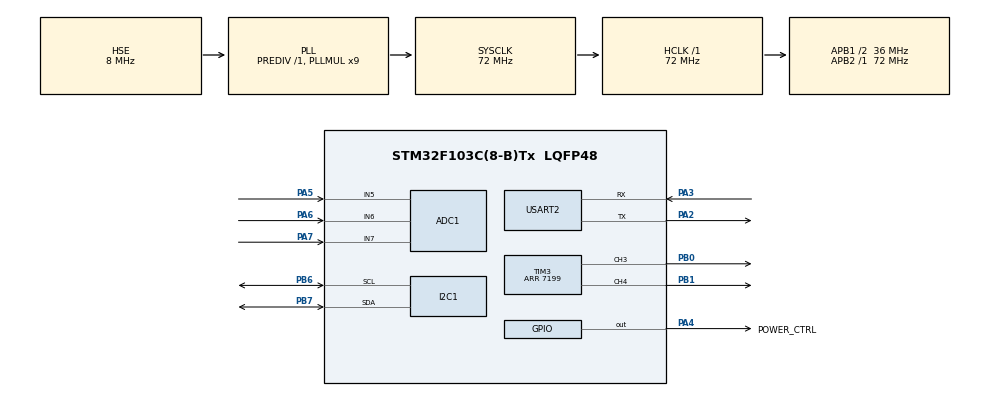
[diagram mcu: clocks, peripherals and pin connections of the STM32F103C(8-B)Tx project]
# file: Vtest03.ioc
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ADC1.Channel-0\#ChannelRegularConversion=ADC_CHANNEL_5
ADC1.Channel-1\#ChannelRegularConversion=ADC_CHANNEL_6
ADC1.Channel-2\#ChannelRegularConversion=ADC_CHANNEL_7
ADC1.ExternalTrigConv=ADC_EXTERNALTRIGCONV_T2_CC2
ADC1.NbrOfConversion=3
ADC1.NbrOfConversionFlag=3
ADC1.Rank-0\#ChannelRegularConversion=1
ADC1.Rank-1\#ChannelRegularConversion=2
ADC1.Rank-2\#ChannelRegularConversion=3
ADC1.SamplingTime-0\#ChannelRegularConversion=ADC_SAMPLETIME_71CYCLES_5
ADC1.SamplingTime-1\#ChannelRegularConversion=ADC_SAMPLETIME_71CYCLES_5
ADC1.SamplingTime-2\#ChannelRegularConversion=ADC_SAMPLETIME_71CYCLES_5
ADC1.ScanConvMode=ADC_SCAN_ENABLE
ADC1.master=1
Dma.ADC1.0.Direction=DMA_PERIPH_TO_MEMORY
Dma.ADC1.0.Instance=DMA1_Channel1
Dma.ADC1.0.MemDataAlignment=DMA_MDATAALIGN_HALFWORD
Dma.ADC1.0.MemInc=DMA_MINC_ENABLE
Dma.ADC1.0.Mode=DMA_CIRCULAR
Dma.ADC1.0.PeriphDataAlignment=DMA_PDATAALIGN_HALFWORD
Dma.ADC1.0.PeriphInc=DMA_PINC_DISABLE
Dma.ADC1.0.Priority=DMA_PRIORITY_HIGH
Dma.Request0=ADC1
I2C1.I2C_Mode=I2C_Fast
Mcu.Family=STM32F1
Mcu.Name=STM32F103C(8-B)Tx
Mcu.Package=LQFP48
NVIC.ADC1_2_IRQn=true\:0\:0\:false\:false\:true\:true\:true\:true
NVIC.DMA1_Channel1_IRQn=true\:0\:0\:false\:false\:true\:false\:true\:true
NVIC.I2C1_ER_IRQn=true\:0\:0\:false\:false\:true\:true\:true\:true
NVIC.I2C1_EV_IRQn=true\:0\:0\:false\:false\:true\:true\:true\:true
NVIC.PriorityGroup=NVIC_PRIORITYGROUP_4
PA13.Mode=Serial_Wire
PA13.Signal=SYS_JTMS-SWDIO
PA14.Mode=Serial_Wire
PA14.Signal=SYS_JTCK-SWCLK
PA2.Mode=Asynchronous
PA2.Signal=USART2_TX
PA3.Mode=Asynchronous
PA3.Signal=USART2_RX
PA4.GPIO_Label=POWER_CTRL
PA4.GPIO_Mode=GPIO_MODE_OUTPUT_PP
PA4.GPIO_PuPd=GPIO_NOPULL
PA4.GPIO_Speed=GPIO_SPEED_FREQ_LOW
PA4.PinState=GPIO_PIN_SET
PA4.Signal=GPIO_Output
PA5.Signal=ADCx_IN5
PA6.Signal=ADCx_IN6
PA7.Signal=ADCx_IN7
PB0.Signal=S_TIM3_CH3
PB1.Signal=S_TIM3_CH4
PB6.Mode=I2C
PB6.Signal=I2C1_SCL
PB7.Mode=I2C
PB7.Signal=I2C1_SDA
PD0-OSC_IN.Mode=HSE-External-Oscillator
PD0-OSC_IN.Signal=RCC_OSC_IN
PD1-OSC_OUT.Mode=HSE-External-Oscillator
PD1-OSC_OUT.Signal=RCC_OSC_OUT
ProjectManager.HeapSize=0x200
ProjectManager.StackSize=0x400
ProjectManager.TargetToolchain=CMake
RCC.ADCPresc=RCC_ADCPCLK2_DIV6
RCC.AHBFreq_Value=72000000
RCC.APB1CLKDivider=RCC_HCLK_DIV2
RCC.APB1Freq_Value=36000000
RCC.APB1TimFreq_Value=72000000
RCC.APB2Freq_Value=72000000
RCC.APB2TimFreq_Value=72000000
RCC.HCLKFreq_Value=72000000
RCC.PLLMUL=RCC_PLL_MUL9
RCC.PLLSourceVirtual=RCC_PLLSOURCE_HSE
RCC.SYSCLKFreq_VALUE=72000000
RCC.SYSCLKSource=RCC_SYSCLKSOURCE_PLLCLK
RCC.USBFreq_Value=72000000
SH.ADCx_IN5.0=ADC1_IN5,IN5
SH.ADCx_IN6.0=ADC1_IN6,IN6
SH.ADCx_IN7.0=ADC1_IN7,IN7
SH.S_TIM3_CH3.0=TIM3_CH3,PWM Generation3 CH3
SH.S_TIM3_CH4.0=TIM3_CH4,PWM Generation4 CH4
TIM2.AutoReloadPreload=TIM_AUTORELOAD_PRELOAD_ENABLE
TIM2.Channel-Output\ Compare2\ No\ Output=TIM_CHANNEL_2
TIM2.Period=999
TIM2.Prescaler=71
TIM2.Pulse-Output\ Compare2\ No\ Output=1
TIM2.TIM_MasterOutputTrigger=TIM_TRGO_OC2REF
TIM3.Channel-PWM\ Generation3\ CH3=TIM_CHANNEL_3
TIM3.Channel-PWM\ Generation4\ CH4=TIM_CHANNEL_4
TIM3.Period=7199
USART2.VirtualMode=VM_ASYNC
VP_TIM2_VS_ClockSourceINT.Mode=Internal
VP_TIM2_VS_no_output2.Mode=Output Compare2 No Output
board=custom

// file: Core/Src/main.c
/* USER CODE BEGIN Header */
/**
  ******************************************************************************
  * @file           : main.c
  * @brief          : Main program body
  ******************************************************************************
  * @attention
  *
  * Copyright (c) 2026 STMicroelectronics.
  * All rights reserved.
  *
  * This software is licensed under terms that can be found in the LICENSE file
  * in the root directory of this software component.
  * If no LICENSE file comes with this software, it is provided AS-IS.
  *
  ******************************************************************************
  */
/* USER CODE END Header */
#include "main.h"
#include "adc.h"
#include "dma.h"
#include "i2c.h"
#include "tim.h"
#include "usart.h"
#include "gpio.h"

/* USER CODE BEGIN Includes */
#include "oled.h"
#include <stdio.h>
#include <stdint.h>
/* USER CODE END Includes */

/* USER CODE BEGIN PV */
/* ADC DMA buffer layout: [CH5,CH6,CH7, CH5,CH6,CH7, ...] */
#define ADC_CHANNEL_COUNT 3U
#define ADC_SAMPLES_PER_CHANNEL 8U
#define ADC_BUFFER_SIZE (ADC_CHANNEL_COUNT * ADC_SAMPLES_PER_CHANNEL)
#define ADC_CH_VBUS_INDEX 0U
#define ADC_CH_AUX1_INDEX 1U
#define ADC_CH_AUX2_INDEX 2U
uint16_t adc_buffer[ADC_BUFFER_SIZE];
uint16_t adc_channel_avg[ADC_CHANNEL_COUNT] = {0};

/* Flag set by DMA callback when new data is available */
volatile uint8_t adc_data_ready = 0;
volatile uint32_t adc_full_buffer_events = 0;
uint32_t last_adc_full_buffer_events = 0;

/* System state */
typedef enum {
  STATE_CUTOFF,   /* Power OFF - PA4=HIGH, PWM=100% */
  STATE_CONDUCTION /* Power ON - PA4=LOW, PWM=0% */
} SystemState_t;

SystemState_t current_state = STATE_CUTOFF;  /* Default safe state */

/* Voltage calculation result */
float vbus_voltage = 0.0f;

/* Timing for OLED update (1 Hz) */
uint32_t last_oled_update = 0;
#define OLED_UPDATE_INTERVAL 1000  /* 1Hz (1000ms/1 = 1000ms) */

/* TIM2-based software ADC triggering */
uint16_t last_tim2_cnt = 0;
#define ADC_TRIGGER_INTERVAL 10  /* 1ms @ 10kHz TIM2 = 72MHz/7200 = 10kHz, but PSC=71, ARR=999 gives 1kHz */

/* Voltage thresholds for hysteresis */
#define VBUS_UPPER_THRESHOLD 51.0f
#define VBUS_LOWER_THRESHOLD 48.0f

/* Software filter to eliminate noise
 * Moving average filter with 16 samples for stable readings
 * Reduces noise when ADC input is floating or has interference */
#define FILTER_SIZE 16
uint16_t filter_buffer[FILTER_SIZE];
uint8_t filter_index = 0;
uint8_t filter_count = 0;        /* Tracks number of samples filled */
uint8_t filter_initialized = 0;

/* PWM duty cycle constants for TIM3 CH3/CH4 (ARR=7199)
 * CCRx = ARR + 1 = 7200 gives constant HIGH (100% duty = cutoff)
 * CCRx = 0 gives constant LOW (0% duty = conduction) */
#define PWM_DUTY_CUTOFF     7200  /* 100% duty = constant HIGH */
#define PWM_DUTY_CONDUCTION 0     /* 0% duty = constant LOW */
/* USER CODE END PV */

void SystemClock_Config(void);
/* USER CODE BEGIN PFP */
void Process_Voltage_And_Control(void);
void Update_OLED_Display(void);
void Set_Output_State(SystemState_t state);
static uint16_t Compute_Channel_Average(uint8_t channel_index);
/* USER CODE END PFP */

/* USER CODE BEGIN 0 */
extern UART_HandleTypeDef huart2;

#ifdef __GNUC__
int __io_putchar(int ch)
{
  HAL_UART_Transmit(&huart2, (uint8_t*)&ch, 1, HAL_MAX_DELAY);
  return ch;
}

int _write(int file, char *ptr, int len)
{
  (void)file;
  for (int i = 0; i < len; i++)
    __io_putchar(*ptr++);
  return len;
}
#else
int fputc(int ch, FILE *f)
{
  HAL_UART_Transmit(&huart2, (uint8_t*)&ch, 1, HAL_MAX_DELAY);
  return ch;
}
#endif
/* USER CODE END 0 */

int main(void)
{

  /* MCU Configuration--------------------------------------------------------*/

  /* Reset of all peripherals, Initializes the Flash interface and the Systick. */
  HAL_Init();

  /* Configure the system clock */
  SystemClock_Config();

  /* Initialize all configured peripherals */
  MX_GPIO_Init();
  MX_DMA_Init();
  MX_ADC1_Init();
  MX_I2C1_Init();
  MX_TIM2_Init();
  MX_TIM3_Init();
  MX_USART2_UART_Init();
  /* USER CODE BEGIN 2 */
  /*
   * Startup sequence - ensure safe default state
   * 1. GPIO PA4 already initialized HIGH (OFF) by MX_GPIO_Init()
   * 2. Set PWM CH3/CH4 to 100% duty (constant HIGH = OFF state)
   *    For TIM3: ARR=7199, so CCRx = ARR + 1 = 7200 gives constant HIGH
   */
  __HAL_TIM_SET_COMPARE(&htim3, TIM_CHANNEL_3, PWM_DUTY_CUTOFF);
  __HAL_TIM_SET_COMPARE(&htim3, TIM_CHANNEL_4, PWM_DUTY_CUTOFF);

  /* Start PWM outputs on CH3 (PB0) and CH4 (PB1) */
  if (HAL_TIM_PWM_Start(&htim3, TIM_CHANNEL_3) != HAL_OK)
  {
    Error_Handler();
  }
  if (HAL_TIM_PWM_Start(&htim3, TIM_CHANNEL_4) != HAL_OK)
  {
    Error_Handler();
  }

  /* Start ADC with DMA FIRST - ADC must be ready before TIM2 triggers it
   * ADC is configured for external trigger (TIM2_CC2), so it will wait
   * for the trigger signal after this call */
  if (HAL_ADC_Start_DMA(&hadc1, (uint32_t*)adc_buffer, ADC_BUFFER_SIZE) != HAL_OK)
  {
    Error_Handler();
  }

  /* CRITICAL FIX: Ensure ADC DMA bit is set
   * HAL_ADC_Start_DMA should do this, but verify it */
  SET_BIT(ADC1->CR2, ADC_CR2_DMA);

  /* Start TIM2 Output Compare on CH2 for ADC triggering.
   * CC2 event fires at CNT==CCR2 (every 1 ms) and triggers ADC. */
  if (HAL_TIM_OC_Start(&htim2, TIM_CHANNEL_2) != HAL_OK)
  {
    Error_Handler();
  }

  printf("[DEBUG] ADC1->CR2 after start: 0x%08lX (DMA=%lu,EXTTRIG=%lu)\r\n",
         ADC1->CR2,
         (ADC1->CR2 & ADC_CR2_DMA) ? 1UL : 0UL,
         (ADC1->CR2 & ADC_CR2_EXTTRIG) ? 1UL : 0UL);
  printf("[DEBUG] TIM2_CCER = 0x%04lX (CC2E=%lu)\r\n",
         TIM2->CCER, (TIM2->CCER & TIM_CCER_CC2E) ? 1UL : 0UL);
  printf("[DEBUG] TIM2_CCMR1 = 0x%04lX (OC2M=%lu, expect 3=TOGGLE)\r\n",
         TIM2->CCMR1, (TIM2->CCMR1 & TIM_CCMR1_OC2M) >> TIM_CCMR1_OC2M_Pos);
  printf("[DEBUG] TIM2->SR = 0x%04lX (CC2IF=%lu)\r\n",
         TIM2->SR, (TIM2->SR & TIM_SR_CC2IF) ? 1UL : 0UL);
  printf("[DEBUG] DMA1_Ch1->CCR = 0x%04lX (TCIE=%lu,HTIE=%lu)\r\n",
         DMA1_Channel1->CCR,
         (DMA1_Channel1->CCR & DMA_CCR_TCIE) ? 1UL : 0UL,
         (DMA1_Channel1->CCR & DMA_CCR_HTIE) ? 1UL : 0UL);
  printf("[DEBUG] DMA1_Ch1->CNDTR = %lu (remaining transfers)\r\n",
         DMA1_Channel1->CNDTR);

  printf("[INFO] ADC configured for TIM2_CC2 external trigger\r\n");

  /* Initialize OLED display */
  OLED_Init();
  OLED_Clear();

  /* Display startup message */
  OLED_ShowString(1, 1, "Power Protection");
  OLED_ShowString(2, 1, "Initializing...");

  /* Print startup message via UART */
  printf("\r\n========================================\r\n");
  printf("Power Protection System v2.0\r\n");
  printf("ADC: PA5/PA6/PA7 (CH5/6/7), PWM: PB0/CH3 + PB1/CH4, GPIO: PA4\r\n");
  printf("UART: PA2/PA3 @ 115200\r\n");
  printf("========================================\r\n");
  /* USER CODE END 2 */

  /* Infinite loop */
  while (1)
  {

    /* USER CODE BEGIN 3 */
    /*
     * Main loop processing:
     * 1. Check if new ADC data is available (set by DMA callback)
     * 2. Calculate voltage and apply hysteresis logic
     * 3. Update OLED display at 1 Hz rate
     */

    if (adc_data_ready)
    {
      adc_data_ready = 0;  /* Clear flag */
      Process_Voltage_And_Control();
    }

    /* Update OLED display every 1 second */
    if (HAL_GetTick() - last_oled_update >= OLED_UPDATE_INTERVAL)
    {
      last_oled_update = HAL_GetTick();
      Update_OLED_Display();
    }
  }
  /* USER CODE END 3 */
}

void SystemClock_Config(void)
{
  RCC_OscInitTypeDef RCC_OscInitStruct = {0};
  RCC_ClkInitTypeDef RCC_ClkInitStruct = {0};
  RCC_PeriphCLKInitTypeDef PeriphClkInit = {0};

  /** Initializes the RCC Oscillators according to the specified parameters
  * in the RCC_OscInitTypeDef structure.
  */
  RCC_OscInitStruct.OscillatorType = RCC_OSCILLATORTYPE_HSE;
  RCC_OscInitStruct.HSEState = RCC_HSE_ON;
  RCC_OscInitStruct.HSEPredivValue = RCC_HSE_PREDIV_DIV1;
  RCC_OscInitStruct.HSIState = RCC_HSI_ON;
  RCC_OscInitStruct.PLL.PLLState = RCC_PLL_ON;
  RCC_OscInitStruct.PLL.PLLSource = RCC_PLLSOURCE_HSE;
  RCC_OscInitStruct.PLL.PLLMUL = RCC_PLL_MUL9;
  if (HAL_RCC_OscConfig(&RCC_OscInitStruct) != HAL_OK)
  {
    Error_Handler();
  }

  /** Initializes the CPU, AHB and APB buses clocks
  */
  RCC_ClkInitStruct.ClockType = RCC_CLOCKTYPE_HCLK|RCC_CLOCKTYPE_SYSCLK
                              |RCC_CLOCKTYPE_PCLK1|RCC_CLOCKTYPE_PCLK2;
  RCC_ClkInitStruct.SYSCLKSource = RCC_SYSCLKSOURCE_PLLCLK;
  RCC_ClkInitStruct.AHBCLKDivider = RCC_SYSCLK_DIV1;
  RCC_ClkInitStruct.APB1CLKDivider = RCC_HCLK_DIV2;
  RCC_ClkInitStruct.APB2CLKDivider = RCC_HCLK_DIV1;

  if (HAL_RCC_ClockConfig(&RCC_ClkInitStruct, FLASH_LATENCY_2) != HAL_OK)
  {
    Error_Handler();
  }
  PeriphClkInit.PeriphClockSelection = RCC_PERIPHCLK_ADC;
  PeriphClkInit.AdcClockSelection = RCC_ADCPCLK2_DIV6;
  if (HAL_RCCEx_PeriphCLKConfig(&PeriphClkInit) != HAL_OK)
  {
    Error_Handler();
  }
}

/* USER CODE BEGIN 4 */
/**
 * @brief ADC DMA Conversion Complete Callback
 * @param hadc: ADC handle
 * @note This callback is triggered when DMA completes a full buffer transfer
 *       CRITICAL: Only set flag, NO business logic here
 */
void HAL_ADC_ConvCpltCallback(ADC_HandleTypeDef* hadc)
{
  if (hadc->Instance == ADC1)
  {
    adc_full_buffer_events++;
    adc_data_ready = 1;  /* Set flag for main loop processing */
    /* Debug: print first ADC value */
    printf("[ADC_CB] evt=%lu buf[0]=%u\r\n", adc_full_buffer_events, adc_buffer[0]);
  }
}

/**
 * @brief ADC DMA Half Conversion Complete Callback
 * @param hadc: ADC handle
 * @note Half-transfer events are intentionally ignored because the control
 *       path averages the full 8-sample buffer.
 */
void HAL_ADC_ConvHalfCpltCallback(ADC_HandleTypeDef *hadc)
{
  (void)hadc;
}

static uint16_t Compute_Channel_Average(uint8_t channel_index)
{
  uint32_t sum = 0U;

  for (uint8_t i = channel_index; i < ADC_BUFFER_SIZE; i += ADC_CHANNEL_COUNT)
  {
    sum += adc_buffer[i];
  }

  return (uint16_t)(sum / ADC_SAMPLES_PER_CHANNEL);
}

/**
 * @brief Process ADC data and apply hysteresis control logic
 * @note Called from main loop when adc_data_ready flag is set
 */
void Process_Voltage_And_Control(void)
{
  float adc_avg, vadc, vbus;
  SystemState_t new_state;

  /* Calculate per-channel average from interleaved DMA buffer */
  for (uint8_t ch = 0; ch < ADC_CHANNEL_COUNT; ch++)
  {
    adc_channel_avg[ch] = Compute_Channel_Average(ch);
  }
  adc_avg = (float)adc_channel_avg[ADC_CH_VBUS_INDEX];

  /* Apply moving average filter for noise reduction
   * This stabilizes readings when ADC input has interference */
  filter_buffer[filter_index] = (uint16_t)adc_avg;
  filter_index = (filter_index + 1) % FILTER_SIZE;

  /* Calculate filtered average */
  uint32_t filtered_sum = 0;
  if (!filter_initialized)
  {
    /* Increment sample counter during buffer filling phase */
    filter_count++;

    if (filter_count < FILTER_SIZE)
    {
      /* Still filling: average only available samples */
      for (uint8_t i = 0; i < filter_count; i++)
      {
        filtered_sum += filter_buffer[i];
      }
      adc_avg = (float)filtered_sum / filter_count;
    }
    else
    {
      /* Buffer full: use all FILTER_SIZE samples and mark initialized */
      for (uint8_t i = 0; i < FILTER_SIZE; i++)
      {
        filtered_sum += filter_buffer[i];
      }
      filter_initialized = 1;
      adc_avg = (float)filtered_sum / FILTER_SIZE;
    }
  }
  else
  {
    /* Normal operation: average over FILTER_SIZE samples */
    for (uint8_t i = 0; i < FILTER_SIZE; i++)
    {
      filtered_sum += filter_buffer[i];
    }
    adc_avg = (float)filtered_sum / FILTER_SIZE;
  }

  /* Convert to voltage
   * Vadc = adc_avg * 3.3 / 4095
   * Vbus = Vadc * 25
   */
  vadc = adc_avg * 3.3f / 4095.0f;
  vbus = vadc * 25.0f;

  /* Store global voltage for OLED display */
  vbus_voltage = vbus;

  /* Apply hysteresis logic */
  if (vbus > VBUS_UPPER_THRESHOLD)
  {
    /* Vbus > 51V: Cut off power */
    new_state = STATE_CUTOFF;
  }
  else if (vbus < VBUS_LOWER_THRESHOLD)
  {
    /* Vbus < 48V: Enable power conduction */
    new_state = STATE_CONDUCTION;
  }
  else
  {
    /* 48V <= Vbus <= 51V: Maintain current state (hysteresis band) */
    new_state = current_state;
  }

  /* Update outputs only if state changed */
  if (new_state != current_state)
  {
    Set_Output_State(new_state);
    current_state = new_state;
  }
}

/**
 * @brief Set output state (PA4 and PWM) based on system state
 * @param state: Desired system state
 * @note Updates PA4 and PWM synchronously
 */
void Set_Output_State(SystemState_t state)
{
  if (state == STATE_CUTOFF)
  {
    /* CUTOFF state: Power OFF
     * PA4 = HIGH (cutoff)
     * PWM CH3/CH4 (PB0/PB1) = 100% duty (constant HIGH = cutoff)
     */
    HAL_GPIO_WritePin(POWER_CTRL_GPIO_Port, POWER_CTRL_Pin, GPIO_PIN_SET);
    __HAL_TIM_SET_COMPARE(&htim3, TIM_CHANNEL_3, PWM_DUTY_CUTOFF);
    __HAL_TIM_SET_COMPARE(&htim3, TIM_CHANNEL_4, PWM_DUTY_CUTOFF);
    printf("[STATE] CUTOFF\r\n");
  }
  else  /* STATE_CONDUCTION */
  {
    /* CONDUCTION state: Power ON
     * PA4 = LOW (conduction)
     * PWM CH3/CH4 (PB0/PB1) = 0% duty (constant LOW = conduction)
     */
    HAL_GPIO_WritePin(POWER_CTRL_GPIO_Port, POWER_CTRL_Pin, GPIO_PIN_RESET);
    __HAL_TIM_SET_COMPARE(&htim3, TIM_CHANNEL_3, PWM_DUTY_CONDUCTION);
    __HAL_TIM_SET_COMPARE(&htim3, TIM_CHANNEL_4, PWM_DUTY_CONDUCTION);
    printf("[STATE] CONDUCTION\r\n");
  }
}

/**
 * @brief Update OLED display with current voltage and state
 * @note Called at 1 Hz rate from main loop
 *       CRITICAL: Never call this from ISR/DMA callback
 */
void Update_OLED_Display(void)
{
  char line_buffer[32];

  /* Clear display */
  OLED_Clear();

  /* Display voltage (after x25 multiplier)
   * Use integer math to avoid float formatting issues
   * Display as integer + 1 decimal place */
  uint32_t vbus_int = (uint32_t)vbus_voltage;
  uint32_t vbus_frac = (uint32_t)(vbus_voltage * 10.0f) % 10;
  snprintf(line_buffer, sizeof(line_buffer), "Vbus:%lu.%luV", vbus_int, vbus_frac);
  OLED_ShowString(1, 1, line_buffer);
  OLED_ShowString(1, 16, "L");  /* LUX - L at right side */

  /* Display PWM state - shorten to fit 16 chars */
  if (current_state == STATE_CUTOFF)
  {
    OLED_ShowString(2, 1, "State:OFF 100%");
  }
  else
  {
    OLED_ShowString(2, 1, "State:ON 0%");
  }
  OLED_ShowString(2, 16, "U");  /* LUX - U at right side */

  /* Display CH5 raw ADC average used by control loop */
  uint32_t adc_avg = Compute_Channel_Average(ADC_CH_VBUS_INDEX);
  uint32_t adc_aux1 = Compute_Channel_Average(ADC_CH_AUX1_INDEX);
  uint32_t adc_aux2 = Compute_Channel_Average(ADC_CH_AUX2_INDEX);
  snprintf(line_buffer, sizeof(line_buffer), "ADC5:%lu", adc_avg);
  OLED_ShowString(3, 1, line_buffer);
  OLED_ShowString(3, 16, "X");  /* LUX - X at right side */

  /* Display diagnostic info - check ADC/TIM2 status and data flow heartbeat */
  uint8_t exttrig = (hadc1.Init.ExternalTrigConv == ADC_EXTERNALTRIGCONV_T2_CC2) ? 1U : 0U;
  uint8_t tim2_cr1 = (TIM2->CR1 & TIM_CR1_CEN) ? 1 : 0;
  uint8_t data_flow_ok = (adc_full_buffer_events != last_adc_full_buffer_events) ? 1U : 0U;
  last_adc_full_buffer_events = adc_full_buffer_events;
  /* Display actual threshold values from defines (convert float to int for printf) */
  snprintf(line_buffer, sizeof(line_buffer), "TER%u%u%u(%d,%d)",
           tim2_cr1, exttrig, data_flow_ok,
           (int)VBUS_LOWER_THRESHOLD, (int)VBUS_UPPER_THRESHOLD);
  OLED_ShowString(4, 1, line_buffer);

  /* Send periodic debug info via UART without float-format dependency */
  uint32_t monitor_vbus_int = (uint32_t)vbus_voltage;
  uint32_t monitor_vbus_frac = (uint32_t)(vbus_voltage * 10.0f) % 10;
  /* Debug: Show first few ADC buffer values and DMA event count */
  printf("[MONITOR] Vbus=%lu.%luV ADC5=%lu ADC6=%lu ADC7=%lu State=%s DMA_EVT=%lu\r\n",
         monitor_vbus_int, monitor_vbus_frac, adc_avg, adc_aux1, adc_aux2,
         (current_state == STATE_CUTOFF) ? "CUTOFF" : "CONDUCTION",
         adc_full_buffer_events);
  printf("[DEBUG] adc_buffer[0-2]=%u,%u,%u TIM2_SR=0x%04lX(CC2IF=%lu)\r\n",
         adc_buffer[0], adc_buffer[1], adc_buffer[2],
         TIM2->SR, (TIM2->SR & TIM_SR_CC2IF) ? 1UL : 0UL);
  printf("[DEBUG] DMA1_Ch1->CNDTR=%lu ISR=0x%04lX\r\n",
         DMA1_Channel1->CNDTR, DMA1->ISR);
}
/* USER CODE END 4 */

void Error_Handler(void)
{
  __disable_irq();
  while (1)
  {
  }
}
